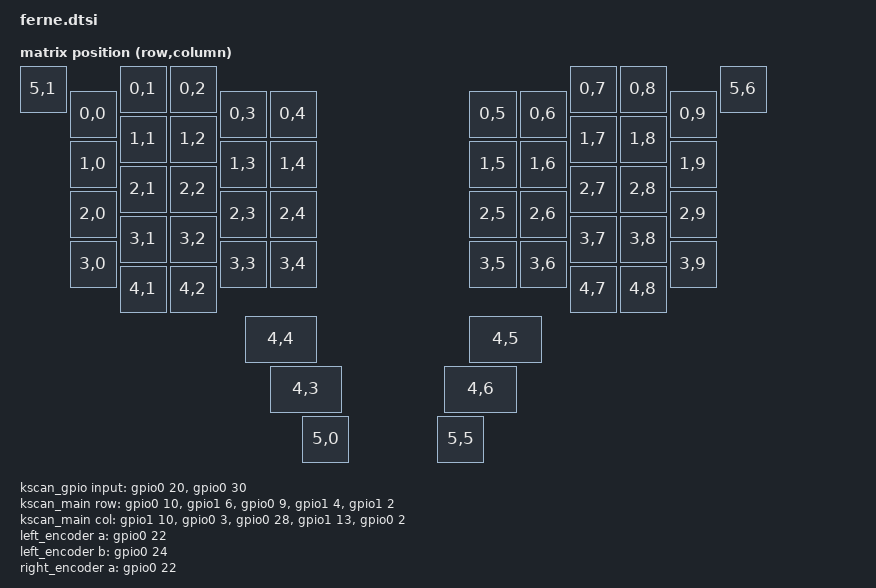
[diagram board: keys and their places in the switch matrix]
/*
 * Copyright (c) 2025 The ZMK Contributors
 *
 * SPDX-License-Identifier: MIT
 */

#include <dt-bindings/zmk/matrix_transform.h>
#include <dt-bindings/zmk/input_transform.h>
#include <dt-bindings/led/led.h>
#include <dt-bindings/zmk/ext_power.h>
#include <input/processors.dtsi>
#include <physical_layouts.dtsi>
#include <zephyr/dt-bindings/input/input-event-codes.h>

/ {
	chosen {
		zmk,physical-layout = &default_layout;
		zmk,underglow = &led_strip;
		//zephyr,display = &screen;
		zephyr,display = &nice_view;
	};

	default_layout: default_layout {
		compatible = "zmk,physical-layout";
		display-name = "Ferne";
		transform = <&default_transform>;
		kscan = <&kscan0>;

        keys  //                     w   h    x    y     rot    rx    ry
            = <&key_physical_attrs 100 100    0    0       0     0     0>
            , <&key_physical_attrs 100 100 1400    0       0     0     0>
			, <&key_physical_attrs 100 100  100   50       0     0     0>
            , <&key_physical_attrs 100 100  200    0       0     0     0>
            , <&key_physical_attrs 100 100  300    0       0     0     0>
            , <&key_physical_attrs 100 100  400   50       0     0     0>
            , <&key_physical_attrs 100 100  500   50       0     0     0>
            , <&key_physical_attrs 100 100  900   50       0     0     0>
            , <&key_physical_attrs 100 100 1000   50       0     0     0>
            , <&key_physical_attrs 100 100 1100    0       0     0     0>
            , <&key_physical_attrs 100 100 1200    0       0     0     0>
            , <&key_physical_attrs 100 100 1300   50       0     0     0>
            , <&key_physical_attrs 100 100  100  150       0     0     0>
            , <&key_physical_attrs 100 100  200  100       0     0     0>
            , <&key_physical_attrs 100 100  300  100       0     0     0>
            , <&key_physical_attrs 100 100  400  150       0     0     0>
            , <&key_physical_attrs 100 100  500  150       0     0     0>
            , <&key_physical_attrs 100 100  900  150       0     0     0>
            , <&key_physical_attrs 100 100 1000  150       0     0     0>
            , <&key_physical_attrs 100 100 1100  100       0     0     0>
            , <&key_physical_attrs 100 100 1200  100       0     0     0>
            , <&key_physical_attrs 100 100 1300  150       0     0     0>
            , <&key_physical_attrs 100 100  100  250       0     0     0>
            , <&key_physical_attrs 100 100  200  200       0     0     0>
            , <&key_physical_attrs 100 100  300  200       0     0     0>
            , <&key_physical_attrs 100 100  400  250       0     0     0>
            , <&key_physical_attrs 100 100  500  250       0     0     0>
            , <&key_physical_attrs 100 100  900  250       0     0     0>
            , <&key_physical_attrs 100 100 1000  250       0     0     0>
            , <&key_physical_attrs 100 100 1100  200       0     0     0>
            , <&key_physical_attrs 100 100 1200  200       0     0     0>
            , <&key_physical_attrs 100 100 1300  250       0     0     0>
            , <&key_physical_attrs 100 100  100  350       0     0     0>
            , <&key_physical_attrs 100 100  200  300       0     0     0>
            , <&key_physical_attrs 100 100  300  300       0     0     0>
            , <&key_physical_attrs 100 100  400  350       0     0     0>
            , <&key_physical_attrs 100 100  500  350       0     0     0>
            , <&key_physical_attrs 100 100  900  350       0     0     0>
            , <&key_physical_attrs 100 100 1000  350       0     0     0>
            , <&key_physical_attrs 100 100 1100  300       0     0     0>
            , <&key_physical_attrs 100 100 1200  300       0     0     0>
            , <&key_physical_attrs 100 100 1300  350       0     0     0>
            , <&key_physical_attrs 100 100  200  400       0     0     0>
            , <&key_physical_attrs 100 100  300  400       0     0     0>
            , <&key_physical_attrs 100 100 1100  400       0     0     0>
            , <&key_physical_attrs 100 100 1200  400       0     0     0>
            , <&key_physical_attrs 150 100  450  500       0     0     0>
            , <&key_physical_attrs 150 100  900  500       0     0     0>
            , <&key_physical_attrs 150 100  500  600       0     0     0>
            , <&key_physical_attrs 150 100  850  600       0     0     0>
            , <&key_physical_attrs 100 100  565  700       0     0     0>
            , <&key_physical_attrs 100 100  835  700       0     0     0>
            ;
	};

	default_transform: keymap_transform_0 {
		compatible = "zmk,matrix-transform";
		columns = <10>;
		rows = <7>;
		map = <
		RC(5,1)                                                                                         RC(5,6)
			RC(0,0) RC(0,1) RC(0,2) RC(0,3) RC(0,4)                  RC(0,5) RC(0,6) RC(0,7) RC(0,8) RC(0,9)
			RC(1,0) RC(1,1) RC(1,2) RC(1,3) RC(1,4)                  RC(1,5) RC(1,6) RC(1,7) RC(1,8) RC(1,9)
			RC(2,0) RC(2,1) RC(2,2) RC(2,3) RC(2,4)                  RC(2,5) RC(2,6) RC(2,7) RC(2,8) RC(2,9)
			RC(3,0) RC(3,1) RC(3,2) RC(3,3) RC(3,4)                  RC(3,5) RC(3,6) RC(3,7) RC(3,8) RC(3,9)
			        RC(4,1) RC(4,2)                                                  RC(4,7) RC(4,8)
			                        RC(4,4)                                  RC(4,5)
			                            RC(4,3)                           RC(4,6)
			                                RC(5,0)                  RC(5,5)
		>;
	};

	kscan0: kscan0 {
		compatible = "zmk,kscan-composite";
		rows = <5>;
        columns = <10>;

        kscan_gpio0: kscan_gpio {
            kscan = <&kscan_gpio>;
			row-offset = <5>;
        };

        kscan_main0: main {
            kscan = <&kscan_main>;
        };
	};

	kscan_gpio: kscan_gpio {
		compatible = "zmk,kscan-gpio-direct";
		// label = "Toggle KSCAN";
        // toggle-mode;
		wakeup-source;
		input-gpios
			= <&gpio0 20 (GPIO_ACTIVE_LOW | GPIO_PULL_UP)> // wake thumb
			, <&gpio0 30 (GPIO_ACTIVE_LOW | GPIO_PULL_UP)> // encoder || r6
			;
	};

	kscan_main: kscan_main {
		compatible = "zmk,kscan-gpio-matrix";
		// label = "Main KSCAN";
		diode-direction = "col2row";
		wakeup-source;
		row-gpios
			= <&gpio0 10 (GPIO_ACTIVE_HIGH | GPIO_PULL_DOWN)> //r1
			, <&gpio1 6  (GPIO_ACTIVE_HIGH | GPIO_PULL_DOWN)> //r2
			, <&gpio0 9  (GPIO_ACTIVE_HIGH | GPIO_PULL_DOWN)> //r3
			, <&gpio1 4  (GPIO_ACTIVE_HIGH | GPIO_PULL_DOWN)> //r4
			, <&gpio1 2  (GPIO_ACTIVE_HIGH | GPIO_PULL_DOWN)> //r5
			// , <&gpio0 30 (GPIO_ACTIVE_HIGH | GPIO_PULL_DOWN)> //r6 // connected to ec11-push
			// , <&gpio1 11 (GPIO_ACTIVE_HIGH | GPIO_PULL_DOWN)> //tr - unused
			;
		col-gpios
			= <&gpio1 10 GPIO_ACTIVE_HIGH> //c1
			, <&gpio0 3  GPIO_ACTIVE_HIGH> //c2
			, <&gpio0 28 GPIO_ACTIVE_HIGH> //c3
			, <&gpio1 13 GPIO_ACTIVE_HIGH> //c4
			, <&gpio0 2  GPIO_ACTIVE_HIGH> //c5
			//, <&gpio0 29 GPIO_ACTIVE_HIGH> //c6 - unused
			//, <&gpio1 2  GPIO_ACTIVE_HIGH> // connected to boot LED via 0ohm, desolder to enable
			;
	};

	sensors {
		compatible = "zmk,keymap-sensors";
		sensors = <&left_encoder &right_encoder>;
		triggers-per-rotation = <20>;
	};

	left_encoder: left_encoder {
		compatible = "alps,ec11";
		a-gpios = <&gpio0 22 (GPIO_ACTIVE_HIGH | GPIO_PULL_UP)>;
		b-gpios = <&gpio0 24 (GPIO_ACTIVE_HIGH | GPIO_PULL_UP)>;
		steps = <80>;
		status = "disabled";
	};

	right_encoder: right_encoder { // duplicate of left_encoder
		compatible = "alps,ec11";
		a-gpios = <&gpio0 22 (GPIO_ACTIVE_HIGH | GPIO_PULL_UP)>;
		b-gpios = <&gpio0 24 (GPIO_ACTIVE_HIGH | GPIO_PULL_UP)>;
		steps = <80>;
		status = "disabled";
	};

	split_inputs {
        #address-cells = <1>;
        #size-cells = <0>;

        trackball_peripheral_split: trackball_peripheral_split@0 {
            compatible = "zmk,input-split";
            reg = <0>;
        };
    };

	left_listener: left_listener {
        compatible = "zmk,input-listener";
        status = "disabled";
        input-processors = 
            <&zip_xy_transform INPUT_TRANSFORM_XY_SWAP>,      // this gets it to the default installation orientation
            <&zip_xy_scaler 1 16>,       // multiply sensitivity by 1, divide by 3 (make it slower for scrolling)
            <&zip_xy_to_scroll_mapper>, // make this trackball output scrolling events by default instead of cursor movement
            <&zip_scroll_transform INPUT_TRANSFORM_Y_INVERT>; // invert vertical scrolling so that the view moves in the same direction as the top of the trackball.
    };

    right_listener: right_listener {
        compatible = "zmk,input-listener";
        status = "disabled";
        device = <&trackball_peripheral_split>;
        input-processors =
				<&zip_scroll_transform INPUT_TRANSFORM_Y_INVERT>;
        //    <&zip_x_scaler 4 1>;
			//<&zip_xy_transform INPUT_TRANSFORM_XY_SWAP>; // this gets it to the default installation orientation
            //,<&zip_temp_layer 3 500>;                 // activate layer 3 within 500ms of the trackball moving
    };
};

&pinctrl {
	led_default: led_default {
		group1 {
			psels = <NRF_PSEL(SPIM_SCK, 0, 25)>, // unconnected
					<NRF_PSEL(SPIM_MOSI, 0, 26)>;
		};
	};
	led_sleep: led_sleep {
		group1 {
			psels = <NRF_PSEL(SPIM_SCK, 0, 25)>, // unconnected
					<NRF_PSEL(SPIM_MOSI, 0, 26)>;
			low-power-enable;
		};
	};

	screen_default: screen_default {
		group1 {
			psels = <NRF_PSEL(SPIM_SCK,  0, 8)>,
					<NRF_PSEL(SPIM_MOSI, 0, 6)>,
					<NRF_PSEL(SPIM_MISO, 0, 27)> //unconnected
				;
		};
	};

	screen_sleep: screen_sleep {
		group1 {
			psels = <NRF_PSEL(SPIM_SCK,  0, 8)>,
					<NRF_PSEL(SPIM_MOSI, 0, 6)>,
					<NRF_PSEL(SPIM_MISO, 0, 27)> //unconnected
				;
			low-power-enable;
		};
	};

	trackball_default: trackball_default {
		group1 {
			psels = <NRF_PSEL(SPIM_SCK,  0, 5)>,
					<NRF_PSEL(SPIM_MOSI, 0, 15)>,
					<NRF_PSEL(SPIM_MISO, 0, 15)>;
		};
	};

	trackball_sleep: trackball_sleep {
		group1 {
			psels = <NRF_PSEL(SPIM_SCK,  0, 5)>,
					<NRF_PSEL(SPIM_MOSI, 0, 15)>,
					<NRF_PSEL(SPIM_MISO, 0, 15)>;
			low-power-enable;
		};
	};
};

// SPI0 is shared with I2C0, only one can be enabled. Start with SPI1
&spi1 {
	status = "okay";
	compatible = "nordic,nrf-spim";

	pinctrl-0 = <&led_default>;
	pinctrl-1 = <&led_sleep>;
	pinctrl-names = "default", "sleep";

	led_strip: ws2812@0 {
		compatible = "worldsemi,ws2812-spi";
		reg = <0>; /* ignored, but necessary for SPI bindings */
		spi-max-frequency = <4000000>;

		chain-length = <25>;
		spi-one-frame = <0x70>;
		spi-zero-frame = <0x40>;

		color-mapping = <LED_COLOR_ID_GREEN LED_COLOR_ID_RED LED_COLOR_ID_BLUE>;
	};
};

nice_view_spi: &spi2 {
	status = "okay";
	compatible = "nordic,nrf-spim";
	
	pinctrl-0 = <&screen_default>;
	pinctrl-1 = <&screen_sleep>;
	pinctrl-names = "default", "sleep";
	cs-gpios = <&gpio1 9 GPIO_ACTIVE_HIGH>;

	// screen: ls0xx@0 {
	// 	compatible = "sharp,ls0xx";
	// 	// label = "DISPLAY";
	// 	spi-max-frequency = <2000000>;
	// 	reg = <0>;
	// 	width = <160>;
	// 	height = <68>;
	// };
};

// &spi3 {
// 	status = "okay";
// 	compatible = "nordic,nrf-spim";
// 	pinctrl-0 = <&trackball_default>;
// 	pinctrl-1 = <&trackball_sleep>;
// 	pinctrl-names = "default", "sleep";
// 	cs-gpios = <&gpio0 4 GPIO_ACTIVE_LOW>;  //"sel2"

// 	trackball: trackball@0 {
// 		status = "okay";
// 		compatible = "pixart,pmw3610";
// 		reg = <0>;
// 		spi-max-frequency = <2000000>;
// 		irq-gpios = <&gpio1 0 (GPIO_ACTIVE_LOW | GPIO_PULL_UP)>;
// 		cpi = <600>;
// 		evt-type = <INPUT_EV_REL>;
// 		x-input-code = <INPUT_REL_X>;
// 		y-input-code = <INPUT_REL_Y>;
// 	};
// };
